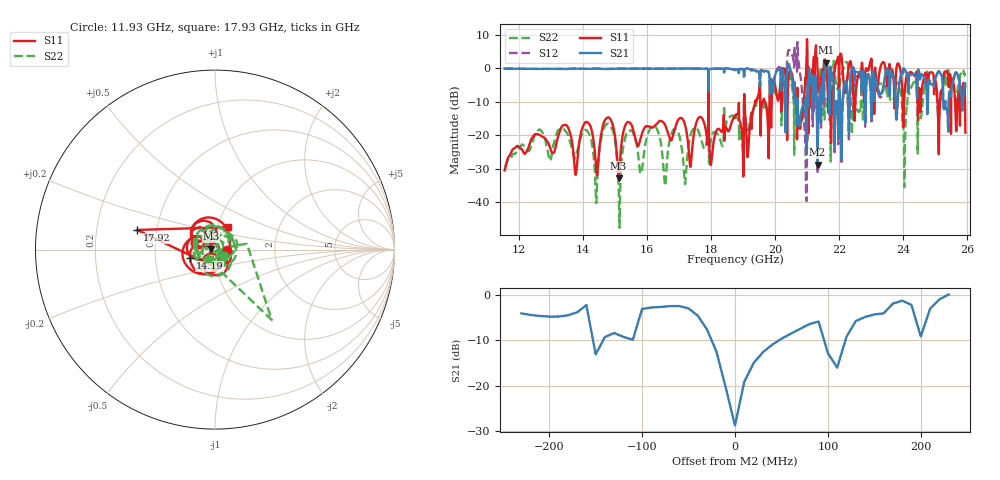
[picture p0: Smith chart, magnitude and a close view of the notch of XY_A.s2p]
!Keysight Technologies,N5242B,MY58421992,A.13.50.09
!Date: Tuesday, April 20, 2021 19:32:50
!Correction: S11(Full 2 Port(1,2))
!S21(Full 2 Port(1,2))
!S12(Full 2 Port(1,2))
!S22(Full 2 Port(1,2))
!S2P File: Measurements: S11, S21, S12, S22:
# Hz S  dB  R 50
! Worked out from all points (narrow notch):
!   1441 points, 11.55 GHz to 25.95 GHz, reference 50 ohm
!   highest |S21| = 1.65 dB at 21.6 GHz (marker M1); lowest = -28.8 dB at 21.33 GHz (marker M2)
!   notch at M2: 28.6 dB deep, 39.4 MHz wide at half that depth
!   lowest |S11| = -32.9 dB at 15.11 GHz (marker M3), VSWR 1.05, Z = 47.9 + j0.524 ohm
!   |S11| at or under -10 dB: start of sweep to 17.92 GHz; 17.92 GHz to 19.03 GHz (1.109 GHz wide, 6 % of centre); 19.05 GHz to 19.39 GHz (342.6 MHz wide, 1.78 % of centre) (the widest 3 of 29)
!   |S22| runs from -47.6 to 2.5 dB; largest |S21 - S12| = 2.8
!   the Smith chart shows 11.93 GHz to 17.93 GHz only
!   S11 on the Smith chart (normalised r, x): 11.93 GHz: 1.15, -0.01; 14.19 GHz: 0.75, -0.07; 17.92 GHz: 0.39, +0.11; 17.93 GHz: 1.12, +0.29
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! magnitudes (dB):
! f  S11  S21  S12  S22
! 11.55 GHz  -30.5  -0.2  -0.1  -29.4
! 11.93 GHz  -23.3  -0.2  -0.2  -24.6
! 13.95 GHz  -18.8  -0.2  -0.2  -20.1
! 14.19 GHz  -16.6  -0.2  -0.2  -19.6
! 14.41 GHz  -29.8  -0.1  -0.1  -40.3
! 14.86 GHz  -15.3  -0.2  -0.2  -17.3
! 15.11 GHz  -32.9  -0.1  -0.1  -34.7
! 16.35 GHz  -16.2  -0.2  -0.2  -19.1
! 16.56 GHz  -16.9  -0.2  -0.1  -35.2
! 17.92 GHz  -7.0  -6.7  -6.6  -6.0
! 17.93 GHz  -16.8  -0.7  -0.7  -23.6
! 18.75 GHz  -14.6  -0.5  -0.5  -15.0
! 20.68 GHz  -14.7  -14.2  1.0  -14.0
! 20.98 GHz  1.2  -22.1  -38.0  -9.8
! 21.15 GHz  -2.3  -4.4  -9.6  -10.3
! 21.33 GHz  -0.9  -28.8  -31.5  -5.8
! 21.6 GHz  0.8  1.6  -0.4  -9.3
! 22.03 GHz  3.6  -8.8  -10.3  -4.4
! 23.55 GHz  -1.1  -2.5  -3.3  -7.6
! 24.05 GHz  -7.3  -0.3  -0.7  -31.2
! 24.35 GHz  -2.2  -1.7  -1.9  -4.1
! 25.95 GHz  -19.2  -5.5  -5.4  -2.5
